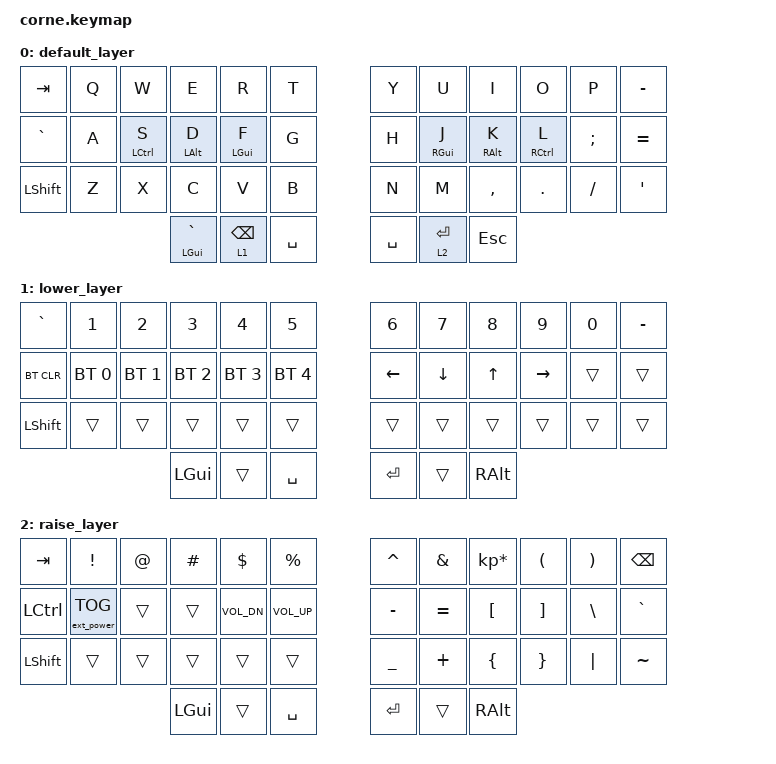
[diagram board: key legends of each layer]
/*
 * Copyright (c) 2020 The ZMK Contributors
 *
 * SPDX-License-Identifier: MIT
 */

#include <behaviors.dtsi>
#include <dt-bindings/zmk/bt.h>
#include <dt-bindings/zmk/ext_power.h>
#include <dt-bindings/zmk/keys.h>

&mt { flavor = "balanced"; };

/ {
    macros {
        mac: mac {
            compatible = "zmk,behavior-macro";
            #binding-cells = <0>;
            bindings = <&none>;
            label = "MAC";
        };
    };

    /*   combos {
        compatible = "zmk,combos";

        colemak {
            bindings = <&tog 3>;
            key-positions = <36 41>;
        };
    };
    */

    keymap {
        compatible = "zmk,keymap";

        default_layer {
            // -----------------------------------------------------------------------------------------
            // |  TAB |  Q  |  W  |  E  |  R  |  T  |   |  Y  |  U   |  I  |  O  |  P  | BKSP |
            // | CTRL |  A  |  S  |  D  |  F  |  G  |   |  H  |  J   |  K  |  L  |  ;  |  '   |
            // | SHFT |  Z  |  X  |  C  |  V  |  B  |   |  N  |  M   |  ,  |  .  |  /  | ESC  |
            //                    | GUI | LWR | SPC |   | ENT | RSE  | ALT |

        bindings = <
&kp TAB    &kp Q  &kp W        &kp E           &kp R            &kp T        &kp Y      &kp U        &kp I       &kp O        &kp P     &kp MINUS
&kp GRAVE  &kp A  &mt LCTRL S  &mt LALT D      &mt LGUI F       &kp G        &kp H      &mt RGUI J   &mt RALT K  &mt RCTRL L  &kp SEMI  &kp EQUAL
&kp LSHFT  &kp Z  &kp X        &kp C           &kp V            &kp B        &kp N      &kp M        &kp COMMA   &kp DOT      &kp FSLH  &kp SINGLE_QUOTE
                               &mt LGUI GRAVE  &lt 1 BACKSPACE  &kp SPACE    &kp SPACE  &lt 2 ENTER  &kp ESCAPE
            >;
        };

        lower_layer {
            // -----------------------------------------------------------------------------------------
            // |  TAB |  1  |  2  |  3  |  4  |  5  |   |  6  |  7  |  8  |  9  |  0  | BKSP |
            // | BTCLR| BT1 | BT2 | BT3 | BT4 | BT5 |   | LFT | DWN |  UP | RGT |     |      |
            // | SHFT |     |     |     |     |     |   |     |     |     |     |     |      |
            //                    | GUI |     | SPC |   | ENT |     | ALT |

            bindings = <
&kp GRAVE   &kp N1        &kp N2        &kp N3        &kp N4        &kp N5          &kp N6    &kp N7    &kp N8    &kp N9     &kp N0  &kp MINUS
&bt BT_CLR  &bt BT_SEL 0  &bt BT_SEL 1  &bt BT_SEL 2  &bt BT_SEL 3  &bt BT_SEL 4    &kp LEFT  &kp DOWN  &kp UP    &kp RIGHT  &trans  &trans
&kp LSHFT   &trans        &trans        &trans        &trans        &trans          &trans    &trans    &trans    &trans     &trans  &trans
                                        &kp LGUI      &trans        &kp SPACE       &kp RET   &trans    &kp RALT
            >;
        };

        raise_layer {
            // -----------------------------------------------------------------------------------------
            // |  TAB |  !  |  @  |  #  |  $  |  %  |   |  ^  |  &  |  *  |  (  |  )  | BKSP |
            // | CTRL |     |     |     |     |     |   |  -  |  =  |  [  |  ]  |  \  |  `   |
            // | SHFT |     |     |     |     |     |   |  _  |  +  |  {  |  }  | "|" |  ~   |
            //                    | GUI |     | SPC |   | ENT |     | ALT |

            bindings = <
&kp TAB    &kp EXCL           &kp AT  &kp HASH  &kp DLLR      &kp PRCNT       &kp CARET  &kp AMPS   &kp KP_MULTIPLY  &kp LPAR  &kp RPAR  &kp BSPC
&kp LCTRL  &ext_power EP_TOG  &trans  &trans    &kp C_VOL_DN  &kp C_VOL_UP    &kp MINUS  &kp EQUAL  &kp LBKT         &kp RBKT  &kp BSLH  &kp GRAVE
&kp LSHFT  &trans             &trans  &trans    &trans        &trans          &kp UNDER  &kp PLUS   &kp LBRC         &kp RBRC  &kp PIPE  &kp TILDE
                                      &kp LGUI  &trans        &kp SPACE       &kp RET    &trans     &kp RALT
            >;
        };

        /*
        layer_3 {
            bindings = <
&kp TAB         &kp Q  &kp W        &kp F       &kp P            &kp B        &kp J      &kp L        &kp U       &kp Y        &kp SEMI   &kp MINUS
&kp GRAVE       &kp A  &mt LCTRL R  &mt LALT S  &mt LGUI T       &kp G        &kp M      &mt RGUI N   &mt RALT E  &mt RCTRL I  &kp O      &kp EQUAL
&kp LEFT_SHIFT  &kp Z  &kp X        &kp C       &kp D            &kp V        &kp K      &kp H        &kp COMMA   &kp PERIOD   &kp SLASH  &kp SINGLE_QUOTE
                                    &kp LGUI    &lt 1 BACKSPACE  &kp SPACE    &kp SPACE  &lt 2 ENTER  &kp ESCAPE
            >;
        };
        */
    };
};
